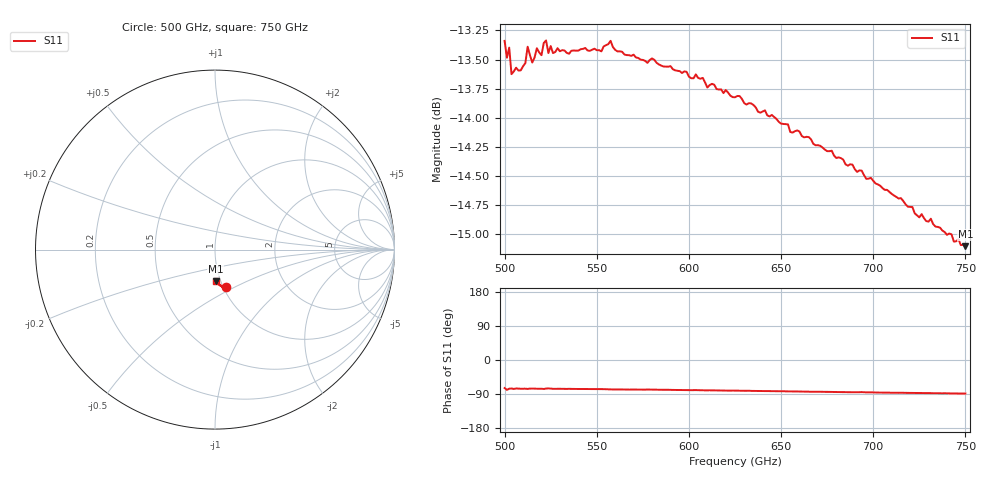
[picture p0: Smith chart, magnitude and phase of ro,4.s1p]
!Created with mwavepy.
# GHz S RI R 50.0
!freq	ReS11	ImS11
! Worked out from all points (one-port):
!   201 points, 500 GHz to 750 GHz, reference 50 ohm
!   lowest |S11| = -15.1 dB at 750 GHz (marker M1), VSWR 1.43, Z = 47.4 - j17.2 ohm
!   |S11| at or under -10 dB: start of sweep to end of sweep
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500  0.0596 -0.2069
! Port Impedance 50.00000000000000 0.00000000000000
501.25  0.0409 -0.2077
502.5  0.053 -0.2072
503.75  0.0529 -0.2015
505  0.0492 -0.203
506.25  0.0539 -0.2026
508.75  0.0511 -0.2028
511.25  0.052 -0.2041
512.5  0.0506 -0.208
515  0.0532 -0.2039
517.5  0.0529 -0.2071
520  0.0521 -0.2058
521.25  0.0503 -0.2089
522.5  0.0542 -0.2084
523.75  0.0553 -0.2054
525  0.0536 -0.2074
526.25  0.0511 -0.2065
531.25  0.051 -0.2071
552.5  0.049 -0.2074
557.5  0.0455 -0.2104
562.5  0.0453 -0.2082
593.75  0.0398 -0.2052
625  0.0325 -0.201
653.75  0.0245 -0.1967
656.25  0.0249 -0.195
687.5  0.0172 -0.1898
718.75  0.0103 -0.1824
750  0.00441 -0.1756
